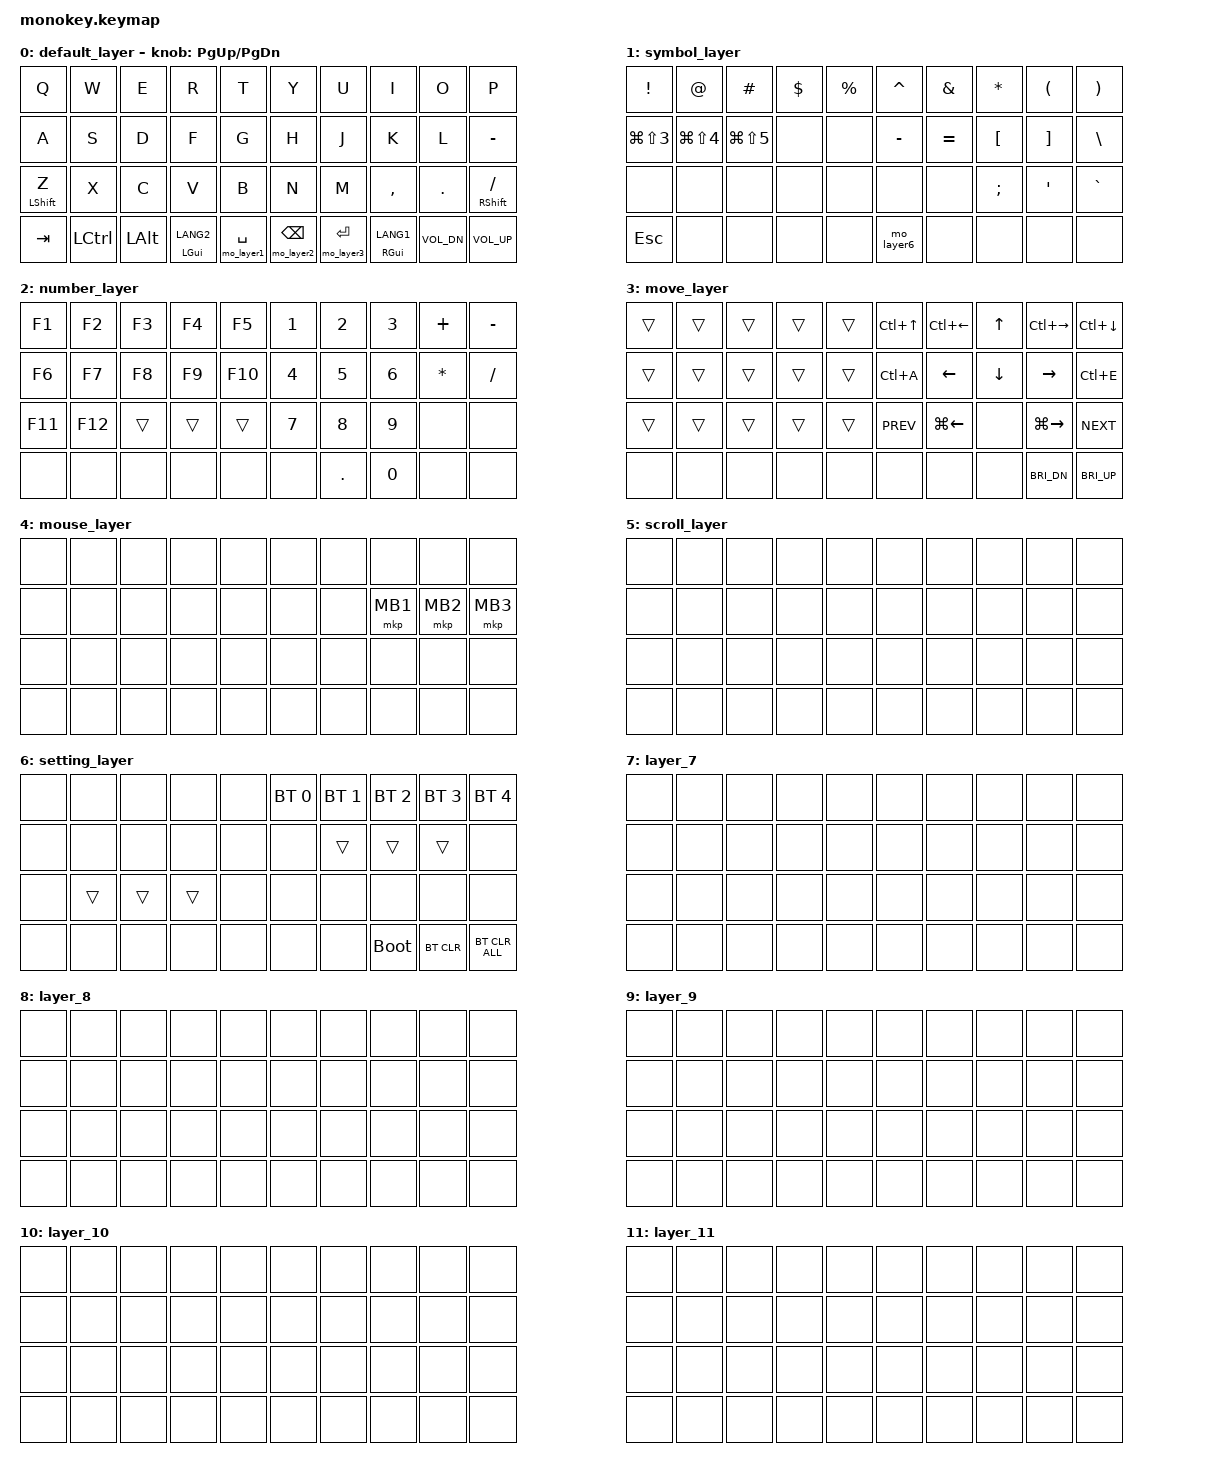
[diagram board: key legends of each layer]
/*
 * Copyright (c) 2024 Conductor Keyboard
 * Generated by Conductor Studio 2.0
 */

#include <behaviors.dtsi>
#include <dt-bindings/zmk/keys.h>
#include <dt-bindings/zmk/bt.h>
#include <dt-bindings/zmk/mouse.h>
#include <dt-bindings/zmk/pointing.h>

&mt {
    flavor = "balanced";
    tapping-term-ms = <200>;
    quick-tap-ms = <200>;
};

&lt {
    tapping-term-ms = <200>;
    quick-tap-ms = <200>;
    flavor = "balanced";
};

/ {
    combos {
        compatible = "zmk,combos";

        scroll {
            bindings = <&mo 5>;
            key-positions = <17 18>;
            timeout-ms = <50>;
        };

        pair {
            bindings = <&bt BT_SEL 5>;
            key-positions = <0 10 20>;
            timeout-ms = <50>;
        };

        boot {
            bindings = <&bootloader>;
            key-positions = <8 24 4>;
            timeout-ms = <50>;
        };

    };

    // --- ここから追記 ---
    macros {
        // レイヤー1用（F21を伴う）
        mo_layer1: mo_layer1 {
            compatible = "zmk,behavior-macro";
            #binding-cells = <0>;
            wait-ms = <0>;
            tap-ms = <0>;
            bindings
                = <&macro_press &mo 1 &kp F21>
                , <&macro_pause_for_release>
                , <&macro_release &mo 1 &kp F21>;
            label = "MO_LAYER1";
        };

        mo_layer2: mo_layer2 {
            compatible = "zmk,behavior-macro";
            #binding-cells = <0>;
            wait-ms = <0>;
            tap-ms = <0>;
            bindings
                = <&macro_press &mo 2 &kp F22>
                , <&macro_pause_for_release>
                , <&macro_release &mo 2 &kp F22>;
            label = "MO_LAYER2";
        };

        mo_layer3: mo_layer3 {
            compatible = "zmk,behavior-macro";
            #binding-cells = <0>;
            wait-ms = <0>;
            tap-ms = <0>;
            bindings
                = <&macro_press &mo 3 &kp F23>
                , <&macro_pause_for_release>
                , <&macro_release &mo 3 &kp F23>;
            label = "MO_LAYER3";
        };

        // レイヤー1の中でレイヤー2（実質6）を呼ぶとき用のマクロ
        mo_layer6: mo_layer6 {
            compatible = "zmk,behavior-macro";
            #binding-cells = <0>;
            bindings
                = <&macro_press &mo 6 &kp F24>
                , <&macro_pause_for_release>
                , <&macro_release &mo 6 &kp F24>;
        };

    };

    behaviors {
        // タップでSPACE、ホールドで「F21付きレイヤー1」
        lt_f21_1: lt_f21_1 {
            compatible = "zmk,behavior-hold-tap";
            label = "LT_F21_1";
            #binding-cells = <2>;
            flavor = "balanced"; // 既存のlt設定に合わせました
            tapping-term-ms = <200>;
            quick-tap-ms = <200>;
            bindings = <&mo_layer1>, <&kp>;
        };

        lt_f22_2: lt_f22_2 {
            compatible = "zmk,behavior-hold-tap";
            label = "LT_F22_2";
            #binding-cells = <2>;
            flavor = "balanced"; // 既存のlt設定に合わせました
            tapping-term-ms = <200>;
            quick-tap-ms = <200>;
            bindings = <&mo_layer2>, <&kp>;
        };

        lt_f23_3: lt_f23_3 {
            compatible = "zmk,behavior-hold-tap";
            label = "LT_F23_3";
            #binding-cells = <2>;
            flavor = "balanced"; // 既存のlt設定に合わせました
            tapping-term-ms = <200>;
            quick-tap-ms = <200>;
            bindings = <&mo_layer3>, <&kp>;
        };
    };
    // --- ここまで追記 ---

    keymap {
        compatible = "zmk,keymap";

        default_layer {
            bindings = <
&kp Q  &kp W  &kp E  &kp R  &kp T    &kp Y  &kp U  &kp I  &kp O  &kp P
&kp A  &kp S  &kp D  &kp F  &kp G    &kp H  &kp J  &kp K  &kp L  &kp MINUS
&mt LSHIFT Z  &kp X  &kp C  &kp V  &kp B    &kp N  &kp M  &kp COMMA  &kp DOT  &mt RSHIFT FSLH
&kp TAB  &kp LCTRL  &kp LALT  &mt LGUI LANG2  &lt_f21_1 0 SPACE  &lt_f22_2 0 BSPC    &lt_f23_3 0 ENTER  &mt RGUI LANG1  &kp C_VOL_DN  &kp C_VOL_UP
            >;

            sensor-bindings = <&inc_dec_kp PG_UP PG_DN>;
        };

        symbol_layer {
            bindings = <
&kp EXCL  &kp AT  &kp HASH  &kp DLLR  &kp PRCNT    &kp CARET  &kp AMPS  &kp STAR  &kp LPAR  &kp RPAR
&kp LG(LS(N3))  &kp LG(LS(N4))  &kp LG(LS(N5))  &none  &none    &kp MINUS  &kp EQUAL  &kp LBKT  &kp RBKT  &kp BSLH
&none  &none  &none  &none  &none    &none  &none  &kp SEMI  &kp SQT  &kp GRAVE
&kp ESC  &none  &none  &none  &none  &mo_layer6    &none  &none  &none  &none
            >;
        };

        number_layer {
            bindings = <
&kp F1  &kp F2  &kp F3  &kp F4  &kp F5    &kp N1  &kp N2  &kp N3  &kp PLUS  &kp MINUS
&kp F6  &kp F7  &kp F8  &kp F9  &kp F10    &kp N4  &kp N5  &kp N6  &kp STAR  &kp FSLH
&kp F11  &kp F12  &trans  &trans  &trans    &kp N7  &kp N8  &kp N9  &none  &none
&none  &none  &none  &none  &none  &none    &kp DOT  &kp N0  &none  &none
            >;
        };

        move_layer {
            bindings = <
&trans  &trans  &trans  &trans  &trans    &kp LC(UP)  &kp LC(LEFT)  &kp UP  &kp LC(RIGHT)  &kp LC(DOWN)
&trans  &trans  &trans  &trans  &trans    &kp LC(A)  &kp LEFT  &kp DOWN  &kp RIGHT  &kp LC(E)
&trans  &trans  &trans  &trans  &trans    &kp C_PREV  &kp LG(LEFT)  &none  &kp LG(RIGHT)  &kp C_NEXT
&none  &none  &none  &none  &none  &none    &none  &none  &kp C_BRI_DN  &kp C_BRI_UP
            >;
        };

        mouse_layer {
            bindings = <
&none  &none  &none  &none  &none    &none  &none  &none  &none  &none
&none  &none  &none  &none  &none    &none  &none  &mkp MB1  &mkp MB2  &mkp MB3
&none  &none  &none  &none  &none    &none  &none  &none  &none  &none
&none  &none  &none  &none  &none  &none    &none  &none  &none  &none
            >;
        };

        scroll_layer {
            bindings = <
&none  &none  &none  &none  &none    &none  &none  &none  &none  &none
&none  &none  &none  &none  &none    &none  &none  &none  &none  &none
&none  &none  &none  &none  &none    &none  &none  &none  &none  &none
&none  &none  &none  &none  &none  &none    &none  &none  &none  &none
            >;
        };

        setting_layer {
            bindings = <
&none  &none  &none  &none  &none    &bt BT_SEL 0  &bt BT_SEL 1  &bt BT_SEL 2  &bt BT_SEL 3  &bt BT_SEL 4
&none  &none  &none  &none  &none    &none  &trans  &trans  &trans  &none
&none  &trans  &trans  &trans  &none    &none  &none  &none  &none  &none
&none  &none  &none  &none  &none  &none    &none  &bootloader  &bt BT_CLR  &bt BT_CLR_ALL
            >;
        };

        layer_7 {
            bindings = <
&none  &none  &none  &none  &none    &none  &none  &none  &none  &none
&none  &none  &none  &none  &none    &none  &none  &none  &none  &none
&none  &none  &none  &none  &none    &none  &none  &none  &none  &none
&none  &none  &none  &none  &none  &none    &none  &none  &none  &none
            >;
        };

        layer_8 {
            bindings = <
&none  &none  &none  &none  &none    &none  &none  &none  &none  &none
&none  &none  &none  &none  &none    &none  &none  &none  &none  &none
&none  &none  &none  &none  &none    &none  &none  &none  &none  &none
&none  &none  &none  &none  &none  &none    &none  &none  &none  &none
            >;
        };

        layer_9 {
            bindings = <
&none  &none  &none  &none  &none    &none  &none  &none  &none  &none
&none  &none  &none  &none  &none    &none  &none  &none  &none  &none
&none  &none  &none  &none  &none    &none  &none  &none  &none  &none
&none  &none  &none  &none  &none  &none    &none  &none  &none  &none
            >;
        };

        layer_10 {
            bindings = <
&none  &none  &none  &none  &none    &none  &none  &none  &none  &none
&none  &none  &none  &none  &none    &none  &none  &none  &none  &none
&none  &none  &none  &none  &none    &none  &none  &none  &none  &none
&none  &none  &none  &none  &none  &none    &none  &none  &none  &none
            >;
        };

        layer_11 {
            bindings = <
&none  &none  &none  &none  &none    &none  &none  &none  &none  &none
&none  &none  &none  &none  &none    &none  &none  &none  &none  &none
&none  &none  &none  &none  &none    &none  &none  &none  &none  &none
&none  &none  &none  &none  &none  &none    &none  &none  &none  &none
            >;
        };

    };
};
